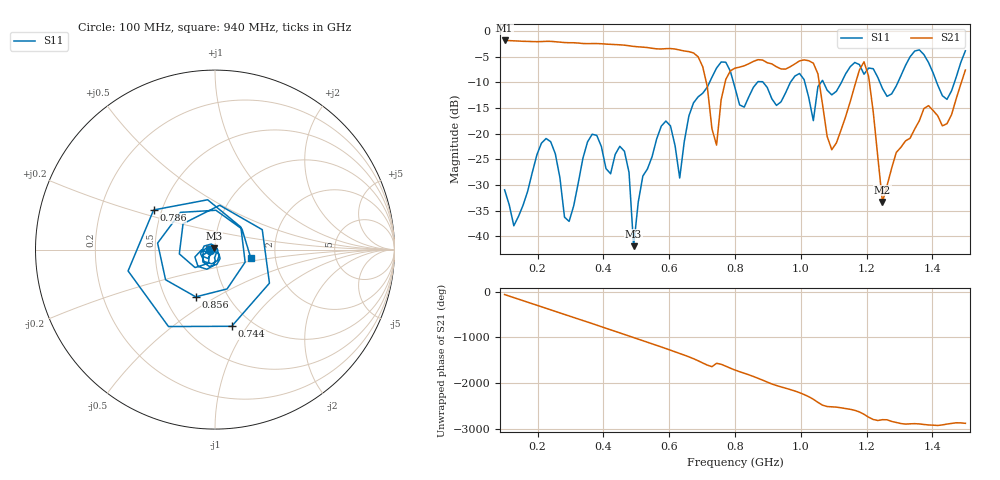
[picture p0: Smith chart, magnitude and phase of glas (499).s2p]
! NanoVNA-App
! Date: 2025-09-25 15:59:21
! Start: 100MHz Stop: 1,5GHz Points: 101
! S-Parameter data: F S11 S21 S12 S22
# Hz S RI R 50
!  Frequency  S11_Real  S11_Imag  S21_Real  S21_Imag  S12_Real  S12_Imag  S22_Real  S22_Imag
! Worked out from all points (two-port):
!   101 points, 100 MHz to 1.5 GHz, reference 50 ohm
!   highest |S21| = -1.80 dB at 100 MHz (marker M1); lowest = -33.3 dB at 1.248 GHz (marker M2)
!   |S21| within 3 dB of the highest: start of sweep to 684.5 MHz
!   lowest |S11| = -41.9 dB at 492 MHz (marker M3), VSWR 1.02, Z = 49.5 + j0.621 ohm
!   |S11| at or under -10 dB: start of sweep to 722.4 MHz; 795.5 MHz to 867.8 MHz (72.29 MHz wide, 8.69 % of centre); 885.9 MHz to 968 MHz (82.09 MHz wide, 8.86 % of centre) (the widest 3 of 7)
!   S12 and S22 are empty: the file has one direction only
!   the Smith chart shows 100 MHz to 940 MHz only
!   S11 on the Smith chart (normalised r, x): 100 MHz: 0.95, -0.01; 744 MHz: 0.80, -0.85; 786 MHz: 0.45, +0.24; 856 MHz: 0.71, -0.41; 940 MHz: 1.49, -0.15
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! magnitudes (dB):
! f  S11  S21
! 100 MHz  -30.9  -1.8
! 128 MHz  -37.9  -1.9
! 226 MHz  -20.9  -2.0
! 296 MHz  -37.1  -2.2
! 338 MHz  -24.8  -2.4
! 464 MHz  -23.4  -2.7
! 492 MHz  -41.9  -3.0
! 576 MHz  -18.5  -3.5
! 632 MHz  -28.6  -3.7
! 702 MHz  -12.1  -6.9
! 744 MHz  -7.2  -22.2
! 786 MHz  -7.8  -7.7
! 800 MHz  -11.0  -7.2
! 856 MHz  -10.9  -5.9
! 940 MHz  -13.8  -7.4
! 996 MHz  -8.2  -5.8
! 1.038 GHz  -17.4  -6.2
! 1.094 GHz  -12.4  -23.1
! 1.192 GHz  -8.4  -6.0
! 1.248 GHz  -11.2  -33.3
! 1.276 GHz  -12.2  -26.7
! 1.5 GHz  -3.8  -7.6
